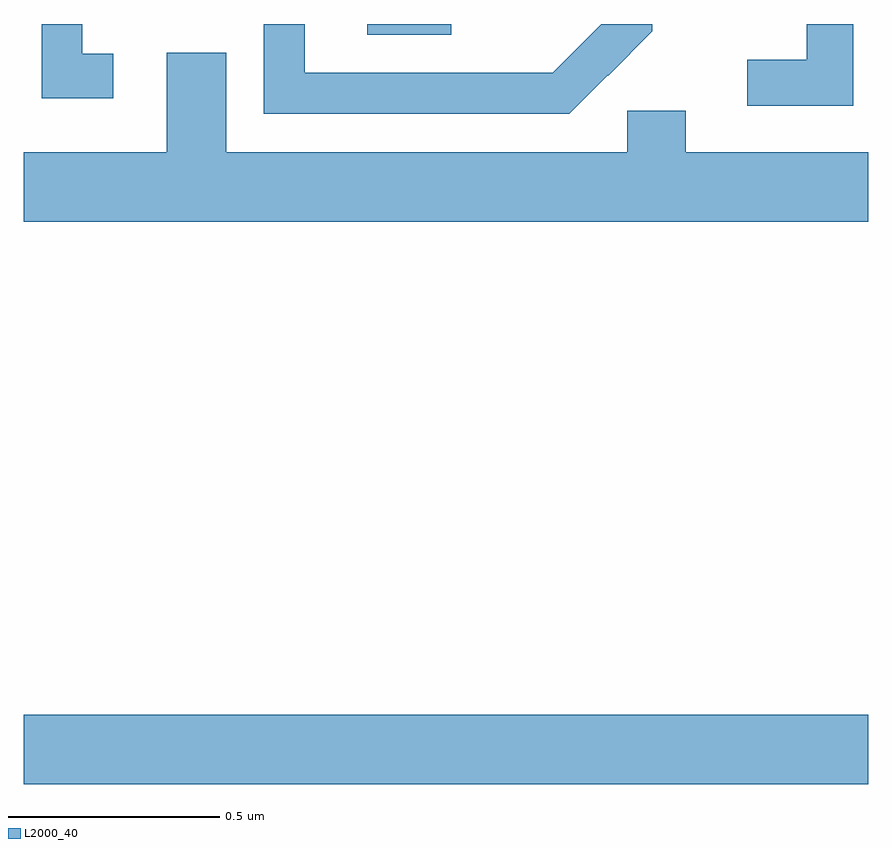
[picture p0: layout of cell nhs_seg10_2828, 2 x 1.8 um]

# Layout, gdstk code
import gdstk
lib = gdstk.Library(unit=1e-6, precision=1e-09)
def R(c, l, rs):  # rectangles x0, y0, x1, y1
    for r in rs: c.add(gdstk.rectangle(r[:2], r[2:], *l))
def P(c, l, *ps):  # polygons
    for p in ps: c.add(gdstk.Polygon(p, *l))
L2000_40 = (2000, 40)

nhs_seg10_2828 = lib.new_cell('nhs_seg10_2828')
R(nhs_seg10_2828, L2000_40, [(146,1249.7,148,1249.864), (146.814,1251.474,147.012,1251.5)])
P(nhs_seg10_2828, L2000_40, [(147.383,1251.379),(147.384,1251.378),(147.489,1251.483),(147.489,1251.5),(147.368,1251.5),(147.253,1251.385),(147.149,1251.385),(147.149,1251.384),(146.665,1251.384),(146.665,1251.5),(146.568,1251.5),(146.568,1251.288),(147.292,1251.288)],
  [(146.212,1251.429),(146.139,1251.429),(146.139,1251.5),(146.043,1251.5),(146.043,1251.324),(146.212,1251.324)],
  [(147.964,1251.5),(147.854,1251.5),(147.854,1251.415),(147.714,1251.415),(147.714,1251.306),(147.964,1251.306)],
  [(148,1251.196),(147.568,1251.196),(147.568,1251.294),(147.429,1251.294),(147.429,1251.196),(146.479,1251.196),(146.479,1251.432),(146.339,1251.432),(146.339,1251.196),(146,1251.196),(146,1251.032),(148,1251.032)])

lib.write_gds('nhs_seg10_2828.gds')
